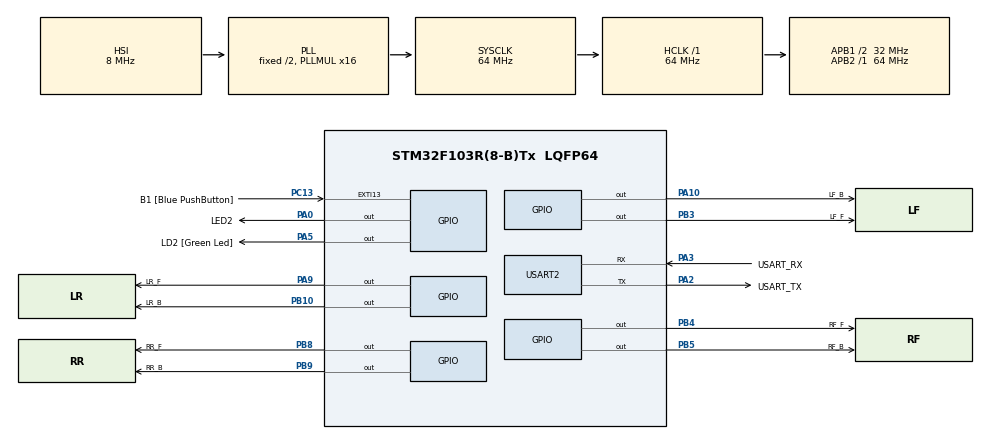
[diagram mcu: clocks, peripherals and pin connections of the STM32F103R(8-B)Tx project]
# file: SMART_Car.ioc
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Mcu.Family=STM32F1
Mcu.Name=STM32F103R(8-B)Tx
Mcu.Package=LQFP64
NVIC.EXTI15_10_IRQn=true\:0\:0\:false\:false\:true\:true\:true\:true
NVIC.PriorityGroup=NVIC_PRIORITYGROUP_4
PA0-WKUP.GPIO_Label=LED2
PA0-WKUP.Signal=GPIO_Output
PA10.GPIO_Label=LF_B
PA10.Signal=GPIO_Output
PA13.GPIO_Label=TMS
PA13.Mode=Serial_Wire
PA13.Signal=SYS_JTMS-SWDIO
PA14.GPIO_Label=TCK
PA14.Mode=Serial_Wire
PA14.Signal=SYS_JTCK-SWCLK
PA2.GPIO_Label=USART_TX
PA2.GPIO_Mode=GPIO_MODE_AF_PP
PA2.GPIO_PuPd=GPIO_NOPULL
PA2.GPIO_Speed=GPIO_SPEED_FREQ_LOW
PA2.Mode=Asynchronous
PA2.Signal=USART2_TX
PA3.GPIO_Label=USART_RX
PA3.GPIO_Mode=GPIO_MODE_AF_PP
PA3.GPIO_PuPd=GPIO_NOPULL
PA3.GPIO_Speed=GPIO_SPEED_FREQ_LOW
PA3.Mode=Asynchronous
PA3.Signal=USART2_RX
PA5.GPIO_Label=LD2 [Green Led]
PA5.GPIO_ModeDefaultOutputPP=GPIO_MODE_OUTPUT_PP
PA5.GPIO_PuPd=GPIO_NOPULL
PA5.GPIO_Speed=GPIO_SPEED_FREQ_LOW
PA5.Signal=GPIO_Output
PA9.GPIO_Label=LR_F
PA9.Signal=GPIO_Output
PB10.GPIO_Label=LR_B
PB10.Signal=GPIO_Output
PB3.GPIO_Label=LF_F
PB3.Signal=GPIO_Output
PB4.GPIO_Label=RF_F
PB4.Signal=GPIO_Output
PB5.GPIO_Label=RF_B
PB5.Signal=GPIO_Output
PB8.GPIO_Label=RR_F
PB8.Signal=GPIO_Output
PB9.GPIO_Label=RR_B
PB9.Signal=GPIO_Output
PC13-TAMPER-RTC.GPIO_Label=B1 [Blue PushButton]
PC13-TAMPER-RTC.GPIO_PuPd=GPIO_NOPULL
PC13-TAMPER-RTC.Signal=GPXTI13
PC14-OSC32_IN.Signal=RCC_OSC32_IN
PC15-OSC32_OUT.Signal=RCC_OSC32_OUT
PD0-OSC_IN.Signal=RCC_OSC_IN
PD1-OSC_OUT.Signal=RCC_OSC_OUT
ProjectManager.HeapSize=0x200
ProjectManager.StackSize=0x400
ProjectManager.TargetToolchain=STM32CubeIDE
RCC.AHBFreq_Value=64000000
RCC.APB1CLKDivider=RCC_HCLK_DIV2
RCC.APB1Freq_Value=32000000
RCC.APB1TimFreq_Value=64000000
RCC.APB2Freq_Value=64000000
RCC.APB2TimFreq_Value=64000000
RCC.HCLKFreq_Value=64000000
RCC.PLLMUL=RCC_PLL_MUL16
RCC.RTCClockSelection=RCC_RTCCLKSOURCE_LSE
RCC.SYSCLKFreq_VALUE=64000000
RCC.SYSCLKSource=RCC_SYSCLKSOURCE_PLLCLK
RCC.USBFreq_Value=64000000
USART2.VirtualMode=VM_ASYNC
board=NUCLEO-F103RB

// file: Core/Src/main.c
/* USER CODE BEGIN Header */
/**
  ******************************************************************************
  * @file           : main.c
  * @brief          : Main program body
  ******************************************************************************
  * @attention
  *
  * Copyright (c) 2025 STMicroelectronics.
  * All rights reserved.
  *
  * This software is licensed under terms that can be found in the LICENSE file
  * in the root directory of this software component.
  * If no LICENSE file comes with this software, it is provided AS-IS.
  *
  ******************************************************************************
  */
/* USER CODE END Header */
#include "main.h"
#include "stdio.h"

UART_HandleTypeDef huart2;

void SystemClock_Config(void);
static void MX_GPIO_Init(void);
static void MX_USART2_UART_Init(void);

/* USER CODE BEGIN 0 */
#ifdef __GNUC__
#define PUTCHAR_PROTOTYPE int __io_putchar(int ch)
#else
#define PUTCHAR_PROTOTYPE int fputc(int ch, FILE *f)
#endif

PUTCHAR_PROTOTYPE {
	if (ch == '\n')
		HAL_UART_Transmit(&huart2, (uint8_t*) "\r", 1, 0xFFFF);

	HAL_UART_Transmit(&huart2, (uint8_t*) &ch, 1, 0xFFFF);

	return ch;

}

void smartcar_forward(){
	HAL_GPIO_WritePin(RR_F_GPIO_Port, RR_F_Pin, 1); // PB8  뒤앞   21 22  RR_F /Right_RearForward
	HAL_GPIO_WritePin(RR_B_GPIO_Port, RR_B_Pin, 0); // PB9  뒤백	RR_B Right_RearBack

	HAL_GPIO_WritePin(RF_F_GPIO_Port, RF_F_Pin, 1); // PB4 앞앞  17 16 RF_F
	HAL_GPIO_WritePin(RF_B_GPIO_Port, RF_B_Pin, 0); // PB5 앞백 RF_B

	HAL_GPIO_WritePin(LR_F_GPIO_Port, LR_F_Pin, 1); // PA9  뒤앞 LR_F 12  27 left_RearForward
	HAL_GPIO_WritePin(LR_B_GPIO_Port, LR_B_Pin, 0); // PB10 뒤백 LR_B left_RearBack

	HAL_GPIO_WritePin(LF_F_GPIO_Port, LF_F_Pin, 1); // 앞앞 PB3 25 26 LF_F left_ForwardForward
	HAL_GPIO_WritePin(LF_B_GPIO_Port, LF_B_Pin, 0); // 앞백 PA10 LF_B left_ForwardBack
}

void smartcar_back(){
	HAL_GPIO_WritePin(RR_F_GPIO_Port, RR_F_Pin, 0); // PB8  뒤앞   21 22  RR_F /Right_RearForward
	HAL_GPIO_WritePin(RR_B_GPIO_Port, RR_B_Pin, 1); // PB9  뒤백	RR_B Right_RearBack

	HAL_GPIO_WritePin(RF_F_GPIO_Port, RF_F_Pin, 0); // PB4 앞앞  17 16 RF_F
	HAL_GPIO_WritePin(RF_B_GPIO_Port, RF_B_Pin, 1); // PB5 앞백 RF_B

	HAL_GPIO_WritePin(LR_F_GPIO_Port, LR_F_Pin, 0); // PA9  뒤앞 LR_F 12  27 left_RearForward
	HAL_GPIO_WritePin(LR_B_GPIO_Port, LR_B_Pin, 1); // PB10 뒤백 LR_B left_RearBack

	HAL_GPIO_WritePin(LF_F_GPIO_Port, LF_F_Pin, 0); // 앞앞 PB3 25 26 LF_F left_ForwardForward
	HAL_GPIO_WritePin(LF_B_GPIO_Port, LF_B_Pin, 1); // 앞백 PA10 LF_B left_ForwardBack
}

void smartcar_left(){
	HAL_GPIO_WritePin(RR_F_GPIO_Port, RR_F_Pin, 1); // PB8  뒤앞   21 22  RR_F /Right_RearForward
	HAL_GPIO_WritePin(RR_B_GPIO_Port, RR_B_Pin, 0); // PB9  뒤백	RR_B Right_RearBack

	HAL_GPIO_WritePin(RF_F_GPIO_Port, RF_F_Pin, 1); // PB4 앞앞  17 16 RF_F
	HAL_GPIO_WritePin(RF_B_GPIO_Port, RF_B_Pin, 0); // PB5 앞백 RF_B

	HAL_GPIO_WritePin(LR_F_GPIO_Port, LR_F_Pin, 0); // PA9  뒤앞 LR_F 12  27 left_RearForward
	HAL_GPIO_WritePin(LR_B_GPIO_Port, LR_B_Pin, 1); // PB10 뒤백 LR_B left_RearBack

	HAL_GPIO_WritePin(LF_F_GPIO_Port, LF_F_Pin, 0); // 앞앞 PB3 25 26 LF_F left_ForwardForward
	HAL_GPIO_WritePin(LF_B_GPIO_Port, LF_B_Pin, 1); // 앞백 PA10 LF_B left_ForwardBack
}

void smartcar_right(){
	HAL_GPIO_WritePin(RR_F_GPIO_Port, RR_F_Pin, 0); // PB8  뒤앞   21 22  RR_F /Right_RearForward
	HAL_GPIO_WritePin(RR_B_GPIO_Port, RR_B_Pin, 1); // PB9  뒤백	RR_B Right_RearBack

	HAL_GPIO_WritePin(RF_F_GPIO_Port, RF_F_Pin, 0); // PB4 앞앞  17 16 RF_F
	HAL_GPIO_WritePin(RF_B_GPIO_Port, RF_B_Pin, 1); // PB5 앞백 RF_B

	HAL_GPIO_WritePin(LR_F_GPIO_Port, LR_F_Pin, 1); // PA9  뒤앞 LR_F 12  27 left_RearForward
	HAL_GPIO_WritePin(LR_B_GPIO_Port, LR_B_Pin, 0); // PB10 뒤백 LR_B left_RearBack

	HAL_GPIO_WritePin(LF_F_GPIO_Port, LF_F_Pin, 1); // 앞앞 PB3 25 26 LF_F left_ForwardForward
	HAL_GPIO_WritePin(LF_B_GPIO_Port, LF_B_Pin, 0); // 앞백 PA10 LF_B left_ForwardBack
}

void smartcar_stop(){
	HAL_GPIO_WritePin(RR_F_GPIO_Port, RR_F_Pin, 0); // PB8  뒤앞   21 22  RR_F /Right_RearForward
	HAL_GPIO_WritePin(RR_B_GPIO_Port, RR_B_Pin, 0); // PB9  뒤백	RR_B Right_RearBack

	HAL_GPIO_WritePin(RF_F_GPIO_Port, RF_F_Pin, 0); // PB4 앞앞  17 16 RF_F
	HAL_GPIO_WritePin(RF_B_GPIO_Port, RF_B_Pin, 0); // PB5 앞백 RF_B

	HAL_GPIO_WritePin(LR_F_GPIO_Port, LR_F_Pin, 0); // PA9  뒤앞 LR_F 12  27 left_RearForward
	HAL_GPIO_WritePin(LR_B_GPIO_Port, LR_B_Pin, 0); // PB10 뒤백 LR_B left_RearBack

	HAL_GPIO_WritePin(LF_F_GPIO_Port, LF_F_Pin, 0); // 앞앞 PB3 25 26 LF_F left_ForwardForward
	HAL_GPIO_WritePin(LF_B_GPIO_Port, LF_B_Pin, 0); // 앞백 PA10 LF_B left_ForwardBack
}

/* USER CODE END 0 */

int main(void)
{

  /* MCU Configuration--------------------------------------------------------*/

  /* Reset of all peripherals, Initializes the Flash interface and the Systick. */
  HAL_Init();

  /* Configure the system clock */
  SystemClock_Config();

  /* Initialize all configured peripherals */
  MX_GPIO_Init();
  MX_USART2_UART_Init();
  /* USER CODE BEGIN 2 */
  uint8_t check;
  /* USER CODE END 2 */

  /* Infinite loop */
  /* USER CODE BEGIN WHILE */
  while (1)
  {
	  HAL_UART_Receive(&huart2, &check, 1, HAL_MAX_DELAY);
	  if(check=='w'){
		  printf("forward\n");
		  smartcar_forward();

	  }
	  else if(check=='a'){
		  printf("left\n");
		  smartcar_left();
	  }
	  else if(check=='d'){
		  printf("right\n");
		  smartcar_right();
	  }
	  else if(check=='s'){
		  printf("back\n");
		  smartcar_back();
	  }
	  else if(check=='f'){
		  printf("stop\n");
		  smartcar_stop();
	  }
	  else{
		  printf("error Invalid value \n");
		  smartcar_stop();
		  //break;
	  }
//	HAL_GPIO_WritePin(LD2_GPIO_Port, LD2_Pin, 1);
//	HAL_GPIO_WritePin(LED2_GPIO_Port, LED2_Pin, 1);
//	HAL_Delay(100);
//	HAL_GPIO_WritePin(LD2_GPIO_Port, LD2_Pin, 0);
//	HAL_GPIO_WritePin(LED2_GPIO_Port, LED2_Pin, 0);
//	HAL_Delay(100);
    /* USER CODE END WHILE */

  }
}

void SystemClock_Config(void)
{
  RCC_OscInitTypeDef RCC_OscInitStruct = {0};
  RCC_ClkInitTypeDef RCC_ClkInitStruct = {0};

  /** Initializes the RCC Oscillators according to the specified parameters
  * in the RCC_OscInitTypeDef structure.
  */
  RCC_OscInitStruct.OscillatorType = RCC_OSCILLATORTYPE_HSI;
  RCC_OscInitStruct.HSIState = RCC_HSI_ON;
  RCC_OscInitStruct.HSICalibrationValue = RCC_HSICALIBRATION_DEFAULT;
  RCC_OscInitStruct.PLL.PLLState = RCC_PLL_ON;
  RCC_OscInitStruct.PLL.PLLSource = RCC_PLLSOURCE_HSI_DIV2;
  RCC_OscInitStruct.PLL.PLLMUL = RCC_PLL_MUL16;
  if (HAL_RCC_OscConfig(&RCC_OscInitStruct) != HAL_OK)
  {
    Error_Handler();
  }

  /** Initializes the CPU, AHB and APB buses clocks
  */
  RCC_ClkInitStruct.ClockType = RCC_CLOCKTYPE_HCLK|RCC_CLOCKTYPE_SYSCLK
                              |RCC_CLOCKTYPE_PCLK1|RCC_CLOCKTYPE_PCLK2;
  RCC_ClkInitStruct.SYSCLKSource = RCC_SYSCLKSOURCE_PLLCLK;
  RCC_ClkInitStruct.AHBCLKDivider = RCC_SYSCLK_DIV1;
  RCC_ClkInitStruct.APB1CLKDivider = RCC_HCLK_DIV2;
  RCC_ClkInitStruct.APB2CLKDivider = RCC_HCLK_DIV1;

  if (HAL_RCC_ClockConfig(&RCC_ClkInitStruct, FLASH_LATENCY_2) != HAL_OK)
  {
    Error_Handler();
  }
}

static void MX_USART2_UART_Init(void)
{

  huart2.Instance = USART2;
  huart2.Init.BaudRate = 115200;
  huart2.Init.WordLength = UART_WORDLENGTH_8B;
  huart2.Init.StopBits = UART_STOPBITS_1;
  huart2.Init.Parity = UART_PARITY_NONE;
  huart2.Init.Mode = UART_MODE_TX_RX;
  huart2.Init.HwFlowCtl = UART_HWCONTROL_NONE;
  huart2.Init.OverSampling = UART_OVERSAMPLING_16;
  if (HAL_UART_Init(&huart2) != HAL_OK)
  {
    Error_Handler();
  }

}

static void MX_GPIO_Init(void)
{
  GPIO_InitTypeDef GPIO_InitStruct = {0};

  /* GPIO Ports Clock Enable */
  __HAL_RCC_GPIOC_CLK_ENABLE();
  __HAL_RCC_GPIOD_CLK_ENABLE();
  __HAL_RCC_GPIOA_CLK_ENABLE();
  __HAL_RCC_GPIOB_CLK_ENABLE();

  /*Configure GPIO pin Output Level */
  HAL_GPIO_WritePin(GPIOA, LED2_Pin|LD2_Pin|LR_F_Pin|LF_B_Pin, GPIO_PIN_RESET);

  /*Configure GPIO pin Output Level */
  HAL_GPIO_WritePin(GPIOB, LR_B_Pin|LF_F_Pin|RF_F_Pin|RF_B_Pin
                          |RR_F_Pin|RR_B_Pin, GPIO_PIN_RESET);

  /*Configure GPIO pin : B1_Pin */
  GPIO_InitStruct.Pin = B1_Pin;
  GPIO_InitStruct.Mode = GPIO_MODE_IT_RISING;
  GPIO_InitStruct.Pull = GPIO_NOPULL;
  HAL_GPIO_Init(B1_GPIO_Port, &GPIO_InitStruct);

  /*Configure GPIO pins : LED2_Pin LD2_Pin LR_F_Pin LF_B_Pin */
  GPIO_InitStruct.Pin = LED2_Pin|LD2_Pin|LR_F_Pin|LF_B_Pin;
  GPIO_InitStruct.Mode = GPIO_MODE_OUTPUT_PP;
  GPIO_InitStruct.Pull = GPIO_NOPULL;
  GPIO_InitStruct.Speed = GPIO_SPEED_FREQ_LOW;
  HAL_GPIO_Init(GPIOA, &GPIO_InitStruct);

  /*Configure GPIO pins : LR_B_Pin LF_F_Pin RF_F_Pin RF_B_Pin
                           RR_F_Pin RR_B_Pin */
  GPIO_InitStruct.Pin = LR_B_Pin|LF_F_Pin|RF_F_Pin|RF_B_Pin
                          |RR_F_Pin|RR_B_Pin;
  GPIO_InitStruct.Mode = GPIO_MODE_OUTPUT_PP;
  GPIO_InitStruct.Pull = GPIO_NOPULL;
  GPIO_InitStruct.Speed = GPIO_SPEED_FREQ_LOW;
  HAL_GPIO_Init(GPIOB, &GPIO_InitStruct);

  /* EXTI interrupt init*/
  HAL_NVIC_SetPriority(EXTI15_10_IRQn, 0, 0);
  HAL_NVIC_EnableIRQ(EXTI15_10_IRQn);

}

void Error_Handler(void)
{
  __disable_irq();
  while (1)
  {
  }
}
